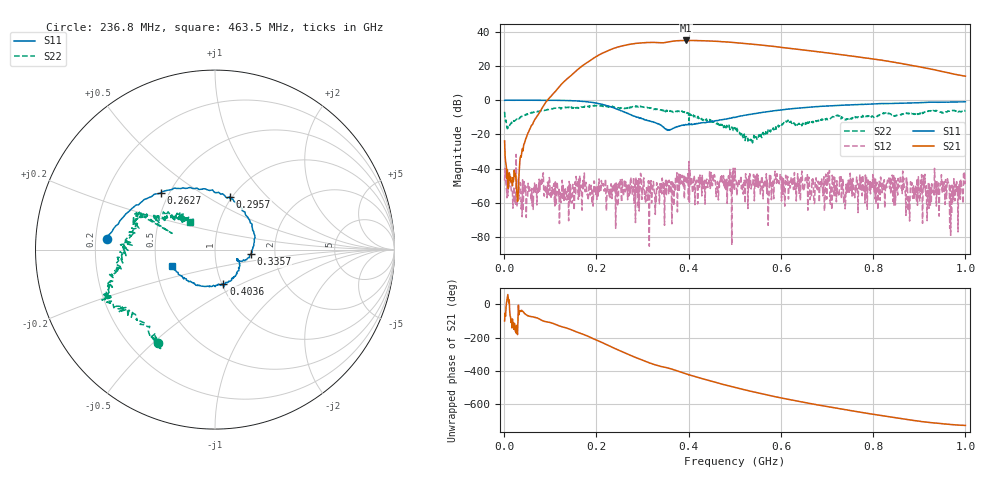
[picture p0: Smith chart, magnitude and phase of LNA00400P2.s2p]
! Created with skrf 1.9.0 (http://scikit-rf.org).
# Hz S RI R 50.0
!freq ReS11 ImS11 ReS21 ImS21 ReS12 ImS12 ReS22 ImS22
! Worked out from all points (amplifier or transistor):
!   1001 points, 1 MHz to 1 GHz, reference 50 ohm
!   highest |S21| = 34.9 dB at 394.6 MHz (marker M1)
!   |S21| within 3 dB of that: 258.8 MHz to 568.1 MHz (309.3 MHz wide, 74.8 % of centre)
!   unconditionally stable (mu >= 1): 211.3 MHz to 296.6 MHz; 296.7 MHz to 400.5 MHz; 400.7 MHz to 933 MHz (the widest 3 of 37)
!   at 166.8 MHz: K = 1.73, MAG = 29.5 dB, |S12| = -49.5 dB
!   at 500.5 MHz: K = 1.18, MAG = 34.1 dB, |S12| = -39.7 dB
!   at 1 GHz: K = 3.15, MAG = 22.5 dB, |S12| = -46.6 dB
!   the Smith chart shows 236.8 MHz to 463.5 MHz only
!   S11 on the Smith chart (normalised r, x): 236.8 MHz: 0.25, +0.05; 262.7 MHz: 0.45, +0.35; 295.7 MHz: 0.98, +0.64; 335.7 MHz: 1.49, -0.08; 403.6 MHz: 1.02, -0.41; 463.5 MHz: 0.60, -0.12
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1000000  0.99 0.0074  -0.0111 -0.064  -0.00414 -0.00193  0.3252 0.3241
1.08892e8  0.5267 -0.8452  -0.7909 -1.493  -0.000655 0.000995  0.4343 -0.386
1.67833e8  -0.2267 -0.9022  -9.672 -0.6  -0.001 0.000892  0.046 -0.6315
2.07793e8  -0.6564 -0.4206  -15.53 15.08  -0.00178 -0.0016  -0.2026 -0.6614
2.36764e8  -0.6041 0.0611  -4.912 31.88  -0.00284 0.00166  -0.3171 -0.521
2.62738e8  -0.3007 0.3172  16.27 36.66  0.00127 -0.00169  -0.4327 -0.3943
2.95705e8  0.0845 0.2957  41.13 22.23  -0.00344 0.00647  -0.6278 -0.2518
3.16684e8  0.2069 0.1316  48.09 5.169  -0.00015 0.00184  -0.5693 -0.1455
3.34666e8  0.2036 -0.0168  47.19 -8.509  -0.00249 -0.000949  -0.5448 -0.0429
3.35665e8  0.1989 -0.0255  46.76 -9.41  -0.0024 0.00025  -0.5335 -0.0435
3.67633e8  0.134 -0.0702  44.21 -29.29  -0.000268 -0.00079  -0.4398 0.1435
3.94606e8  0.0785 -0.1779  28.89 -47.27  0.00348 0.0051  -0.3981 0.1957
4.03597e8  0.0472 -0.1913  21.96 -50.73  -0.00343 0.00426  -0.3419 0.1906
4.32568e8  -0.1091 -0.1954  -0.2132 -54.15  0.00111 0.00405  -0.2038 0.1677
4.63537e8  -0.2405 -0.0924  -20.9 -47.66  0.00194 -6.46e-05  -0.1396 0.1566
5.005e8  -0.2937 0.1075  -37.19 -30.53  0.00174 -0.0102  -0.1283 0.0734
5.4046e8  -0.2419 0.3215  -41.69 -9.478  0.00653 -0.00187  -0.0764 0.011
5.88412e8  -0.0491 0.4949  -35.01 10.51  0.00159 -0.00668  -0.1343 -0.0988
6.67333e8  0.3274 0.5438  -13.77 23.34  0.00311 -0.00365  -0.2156 -0.0671
7.53247e8  0.6302 0.3749  3.608 19.05  -0.0048 -0.000996  -0.3022 -0.00941
8.34166e8  0.7885 0.1484  9.885 9.331  -0.00529 -0.00081  -0.4058 0.00517
1e9  0.8188 -0.3738  4.97 -0.8017  -0.00366 -0.00287  -0.3425 0.3531
